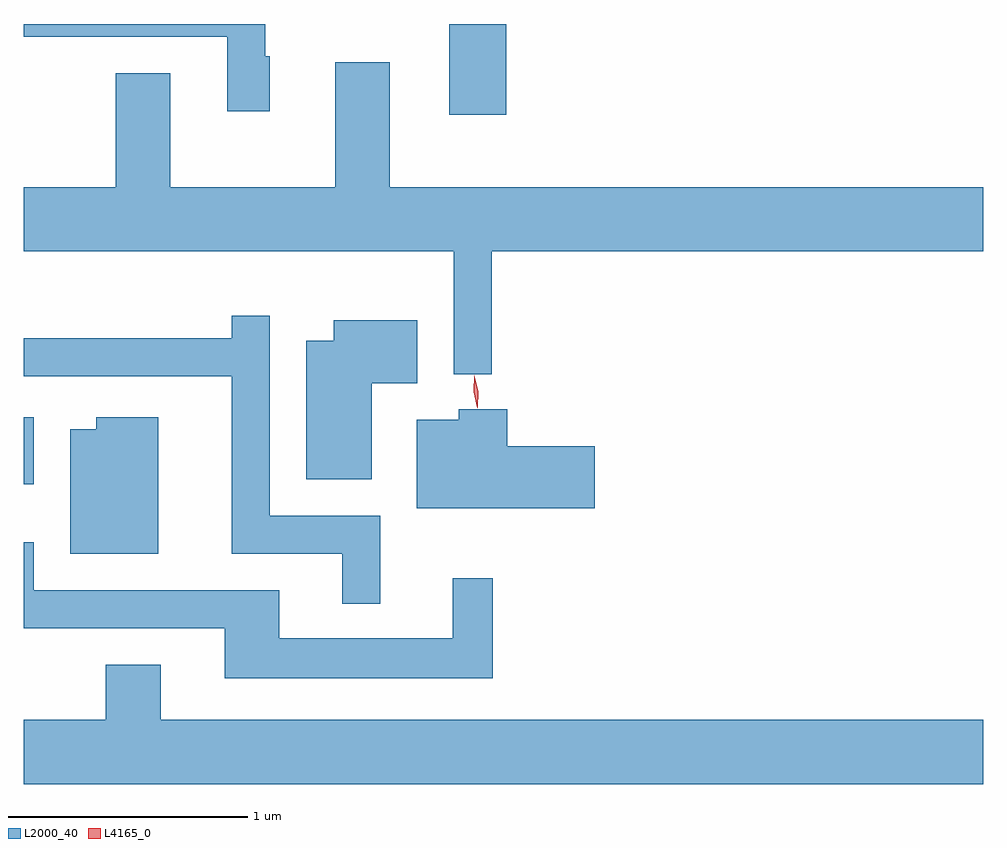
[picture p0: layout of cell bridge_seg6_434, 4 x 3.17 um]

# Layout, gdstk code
import gdstk
lib = gdstk.Library(unit=1e-6, precision=1e-09)
def R(c, l, rs):  # rectangles x0, y0, x1, y1
    for r in rs: c.add(gdstk.rectangle(r[:2], r[2:], *l))
def P(c, l, *ps):  # polygons
    for p in ps: c.add(gdstk.Polygon(p, *l))
L2000_40 = (2000, 40)
L4165_0 = (4165, 0)

bridge_seg6_434 = lib.new_cell('bridge_seg6_434')
R(bridge_seg6_434, L2000_40, [(640.833,1622.326,640.874,1622.604), (642.606,1623.866,642.844,1624.244)])
P(bridge_seg6_434, L2000_40, [(641.859,1624.109),(641.839,1624.109),(641.839,1624.244),(640.833,1624.244),(640.833,1624.191),(641.681,1624.191),(641.681,1623.881),(641.859,1623.881)],
  [(642.784,1623.296),(644.833,1623.296),(644.833,1623.564),(642.359,1623.564),(642.359,1624.084),(642.131,1624.084),(642.131,1623.564),(641.444,1623.564),(641.444,1624.039),(641.216,1624.039),(641.216,1623.564),(640.833,1623.564),(640.833,1623.296),(642.626,1623.296),(642.626,1622.783),(642.784,1622.783)],
  [(642.319,1622.194),(641.859,1622.194),(641.859,1623.028),(641.701,1623.028),(641.701,1622.934),(640.833,1622.934),(640.833,1622.776),(641.701,1622.776),(641.701,1622.036),(642.161,1622.036),(642.161,1621.828),(642.319,1621.828)],
  [(642.284,1622.746),(642.474,1622.746),(642.474,1623.009),(642.126,1623.009),(642.126,1622.924),(642.011,1622.924),(642.011,1622.346),(642.284,1622.346)],
  [(643.214,1622.484),(642.849,1622.484),(642.849,1622.639),(642.646,1622.639),(642.646,1622.594),(642.471,1622.594),(642.471,1622.226),(643.214,1622.226)],
  [(641.394,1622.604),(641.136,1622.604),(641.136,1622.554),(641.026,1622.554),(641.026,1622.036),(641.394,1622.036)],
  [(642.789,1621.933),(642.621,1621.933),(642.621,1621.684),(641.899,1621.684),(641.899,1621.884),(640.874,1621.884),(640.874,1622.083),(640.833,1622.083),(640.833,1621.726),(641.671,1621.726),(641.671,1621.516),(642.789,1621.516)],
  [(644.833,1621.344),(641.404,1621.344),(641.404,1621.574),(641.176,1621.574),(641.176,1621.344),(640.833,1621.344),(640.833,1621.076),(644.833,1621.076)])
P(bridge_seg6_434, L4165_0, [(642.725,1622.644),(642.724,1622.645),(642.708,1622.711),(642.711,1622.779),(642.712,1622.78),(642.712,1622.779),(642.728,1622.713),(642.725,1622.645)])

lib.write_gds('bridge_seg6_434.gds')
